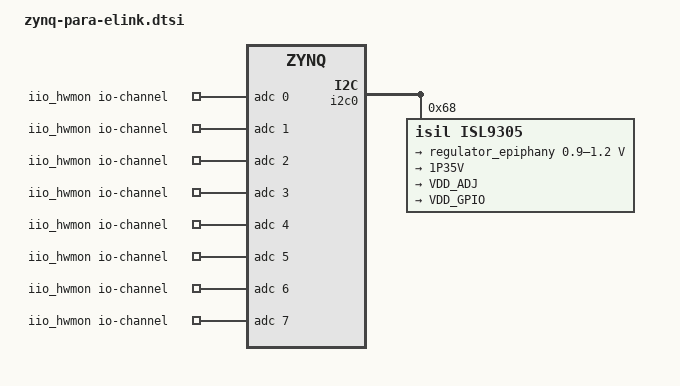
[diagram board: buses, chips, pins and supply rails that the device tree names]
/*
 * Copyright (c) 2014 SUSE LINUX Products GmbH
 * Copyright (c) 2015 SUSE Linux GmbH
 * Copyright (c) 2015 Adapteva Inc.
 *
 * This software is licensed under the terms of the GNU General Public
 * License version 2, as published by the Free Software Foundation, and
 * may be copied, distributed, and modified under those terms.
 *
 * This program is distributed in the hope that it will be useful,
 * but WITHOUT ANY WARRANTY; without even the implied warranty of
 * MERCHANTABILITY or FITNESS FOR A PARTICULAR PURPOSE.  See the
 * GNU General Public License for more details.
 */

/ {
	reserved-memory {
		#address-cells = <1>;
		#size-cells = <1>;
		ranges;
		emem: emem@3e000000 {
			reg = <0x3e000000 0x2000000>;
			no-map;
		};
	};

	elink0: elink0@80000000 {
	};

	iio_hwmon {
		compatible = "iio-hwmon";
		/* 1 temperature channel, and 8 voltage channels */
		io-channels = <&adc 0>,
			    <&adc 1>, <&adc 2>, <&adc 3>, <&adc 4>,
			    <&adc 5>, <&adc 6>, <&adc 7>, <&adc 8>;
	};
};

&elink0 {
	compatible = "adapteva,elink";

	interrupts = <0 55 1>;
	interrupt-parent = <&intc>;

	clocks = <&clkc 15>, <&clkc 16>, <&clkc 17>, <&clkc 18>;
	clock-names = "fclk0", "fclk1", "fclk2", "fclk3";

	#address-cells = <2>; /* <north-west core's id, side (NESW)> */
	#size-cells = <2>; /* <#chip rows, #chip cols> */

	/* Can have more than one reserved memory region. Memory regions
	 * can be shared by elinks.  */
	memory-region = <&emem>;

	/* Can have at most one child node with compatible string
	 * "adapteva,array" or "adapteva,gpio" ??? */

	/* First range is FPGA config regs.
	 * Second range is mappable emesh region.
	 * _4_ * 64 * (1<<20)
	 */
	reg = <0x81000000 0x100000>, <0x80000000 0x10000000>;

	/* (Optional) coreid pin-out register(s) configuration. */
	/* If we add some constraints we could derive this from the
	 * child node ???
	 */
	/*adapteva,coreid = <0x808>; */

	/* No connection between elink coreid pins and the Epiphany chip */
	adapteva,no-coreid-pinout;

	/* Initial FPGA elink MMU config. This is hardcoded in the FPGA
	 * code now.
	 * Not sure if we actually need it here. Driver needs to probe
	 * bitstream version to check whether it is supported or not
	 * anyways. And if not this is the only mapping we will allow */
	adapteva,mmu = <0x8e000000 0x3e000000 0x02000000>;

	/* Optional power / thermal control. Will not implement much for
	 * now but will read supply voltage to check if we can
	 * run chip elink TX at full speed. Can be a list. */
	vdd-supply = <&regulator_epiphany>; /* Can be a list */
	/*io-channels = <&adc 0>;*/
	/*io-channel-names = "zynq_temp";*/

	array0@808 {
		compatible = "adapteva,chip-array";
		/* North-westmost coreid, #NESW, #chip rows, #chip cols */
		reg = <0x808 1 1 1>;

/*
		// reg North=0, East=1, South=2, West=3
		ports {
			#address-cells = <1>;
			#size-cells = <0>;
			port@0 {
				reg = <1>;

				array0_east: endpoint {
					remote-endpoint = <&elink0_port>;
				};
			};
		};
*/
	};
};

&i2c0 {
	status = "okay";

	isl9305: isl9305@68 {
		compatible = "isil,isl9305", "isl,isl9305";
		reg = <0x68>;

		regulators {
			regulator_epiphany: dcd1 {
				regulator-name = "VDD_DSP";
				regulator-min-microvolt =  <900000>;
				regulator-max-microvolt = <1200000>;
			};
			dcd2 {
				regulator-name = "1P35V";
				regulator-always-on;
			};
			ldo1 {
				regulator-name = "VDD_ADJ";
				regulator-always-on;
			};
			ldo2 {
				regulator-name = "VDD_GPIO";
				regulator-always-on;
			};
		};
	};
};

